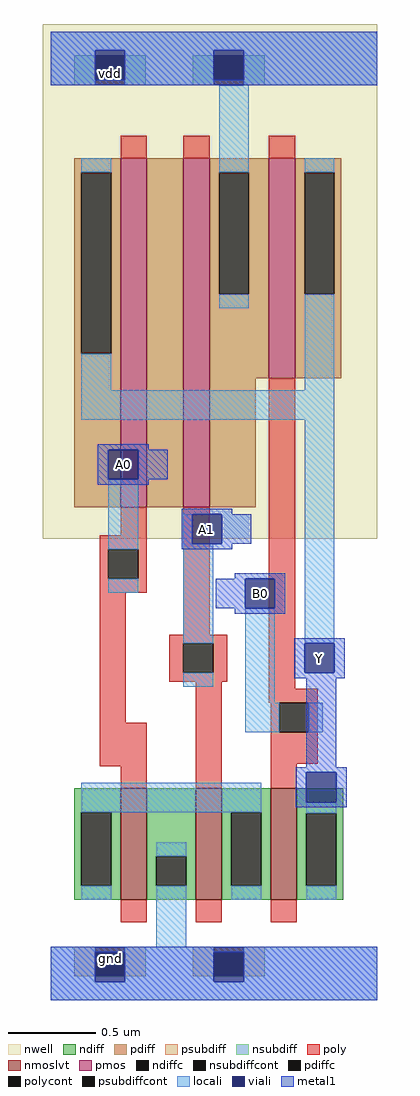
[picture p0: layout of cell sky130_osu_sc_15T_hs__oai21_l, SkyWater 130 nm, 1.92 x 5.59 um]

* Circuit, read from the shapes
.subckt sky130_osu_sc_15T_hs__oai21_l A0 A1 Y B0
XM1 gnd A0 n1 gnd sky130_fd_pr__nfet_01v8_lvt w=0.64 l=0.15
XM2 n1 A1 gnd gnd sky130_fd_pr__nfet_01v8_lvt w=0.64 l=0.15
XM3 Y B0 n1 gnd sky130_fd_pr__nfet_01v8_lvt w=0.64 l=0.15
XM4 n2 A0 Y vdd sky130_fd_pr__pfet_01v8 w=2 l=0.15
XM5 vdd A1 n2 vdd sky130_fd_pr__pfet_01v8 w=2 l=0.15
XM6 Y B0 vdd vdd sky130_fd_pr__pfet_01v8 w=1.26 l=0.15
.ends

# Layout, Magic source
magic
tech sky130A
magscale 1 2
<< nwell >>
rect -9 529 374 1119
<< nmoslvt >>
rect 80 115 110 243
rect 166 115 196 243
rect 252 115 282 243
<< pmos >>
rect 80 565 110 965
rect 152 565 182 965
rect 250 713 280 965
<< ndiff >>
rect 27 215 80 243
rect 27 131 35 215
rect 69 131 80 215
rect 27 115 80 131
rect 110 165 166 243
rect 110 131 121 165
rect 155 131 166 165
rect 110 115 166 131
rect 196 215 252 243
rect 196 131 207 215
rect 241 131 252 215
rect 196 115 252 131
rect 282 214 335 243
rect 282 131 293 214
rect 327 131 335 214
rect 282 115 335 131
<< pdiff >>
rect 27 949 80 965
rect 27 741 35 949
rect 69 741 80 949
rect 27 565 80 741
rect 110 565 152 965
rect 182 949 250 965
rect 182 809 193 949
rect 227 809 250 949
rect 182 713 250 809
rect 280 949 333 965
rect 280 809 291 949
rect 325 809 333 949
rect 280 713 333 809
rect 182 565 235 713
<< ndiffc >>
rect 35 131 69 215
rect 121 131 155 165
rect 207 131 241 215
rect 293 131 327 214
<< pdiffc >>
rect 35 741 69 949
rect 193 809 227 949
rect 291 809 325 949
<< psubdiff >>
rect 27 27 51 61
rect 85 27 109 61
rect 163 27 187 61
rect 221 27 245 61
<< nsubdiff >>
rect 27 1049 51 1083
rect 85 1049 109 1083
rect 163 1049 187 1083
rect 221 1049 245 1083
<< psubdiffcont >>
rect 51 27 85 61
rect 187 27 221 61
<< nsubdiffcont >>
rect 51 1049 85 1083
rect 187 1049 221 1083
<< poly >>
rect 80 965 110 991
rect 152 965 182 991
rect 250 965 280 991
rect 80 533 110 565
rect 56 517 110 533
rect 56 483 66 517
rect 100 483 110 517
rect 56 467 110 483
rect 56 318 86 467
rect 152 419 182 565
rect 136 409 202 419
rect 136 375 152 409
rect 186 375 202 409
rect 136 365 202 375
rect 56 268 110 318
rect 80 243 110 268
rect 166 243 196 365
rect 250 357 280 713
rect 250 341 306 357
rect 252 307 262 341
rect 296 307 306 341
rect 252 271 306 307
rect 252 243 282 271
rect 80 89 110 115
rect 166 89 196 115
rect 252 89 282 115
<< polycont >>
rect 66 483 100 517
rect 152 375 186 409
rect 262 307 296 341
<< locali >>
rect 0 1089 374 1110
rect 0 1049 51 1089
rect 85 1049 187 1089
rect 221 1049 374 1089
rect 35 949 69 965
rect 193 949 227 1049
rect 193 793 227 809
rect 291 949 325 965
rect 35 699 69 741
rect 291 699 325 809
rect 35 665 325 699
rect 66 517 100 597
rect 66 467 100 483
rect 152 523 162 557
rect 152 409 186 523
rect 152 359 186 375
rect 223 341 257 449
rect 291 409 325 665
rect 223 307 262 341
rect 296 307 312 341
rect 35 215 241 249
rect 35 115 69 131
rect 121 165 155 181
rect 121 61 155 131
rect 207 115 241 131
rect 293 214 327 227
rect 293 115 327 131
rect 0 21 51 61
rect 85 21 187 61
rect 221 21 374 61
rect 0 0 374 21
<< viali >>
rect 51 1083 85 1089
rect 51 1055 85 1083
rect 187 1083 221 1089
rect 187 1055 221 1083
rect 66 597 100 631
rect 162 523 196 557
rect 223 449 257 483
rect 291 375 325 409
rect 293 227 327 261
rect 51 27 85 55
rect 51 21 85 27
rect 187 27 221 55
rect 187 21 221 27
<< metal1 >>
rect 0 1089 374 1110
rect 0 1055 51 1089
rect 85 1055 187 1089
rect 221 1055 374 1089
rect 0 1049 374 1055
rect 54 631 112 637
rect 54 597 66 631
rect 100 597 134 631
rect 54 591 112 597
rect 150 557 208 563
rect 150 523 162 557
rect 196 523 230 557
rect 150 517 208 523
rect 211 483 269 489
rect 189 449 223 483
rect 257 449 269 483
rect 211 443 269 449
rect 279 409 337 415
rect 279 375 291 409
rect 325 375 337 409
rect 279 369 337 375
rect 293 267 327 369
rect 281 261 339 267
rect 281 227 293 261
rect 327 227 339 261
rect 281 221 339 227
rect 0 55 374 61
rect 0 21 51 55
rect 85 21 187 55
rect 221 21 374 55
rect 0 0 374 21
<< labels >>
rlabel viali 83 614 83 614 1 A0
port 1 n
rlabel viali 179 540 179 540 1 A1
port 2 n
rlabel viali 308 392 308 392 1 Y
port 3 n
rlabel viali 240 466 240 466 1 B0
port 4 n
rlabel viali 68 48 68 48 1 gnd
rlabel viali 68 1062 68 1062 1 vdd
<< end >>
